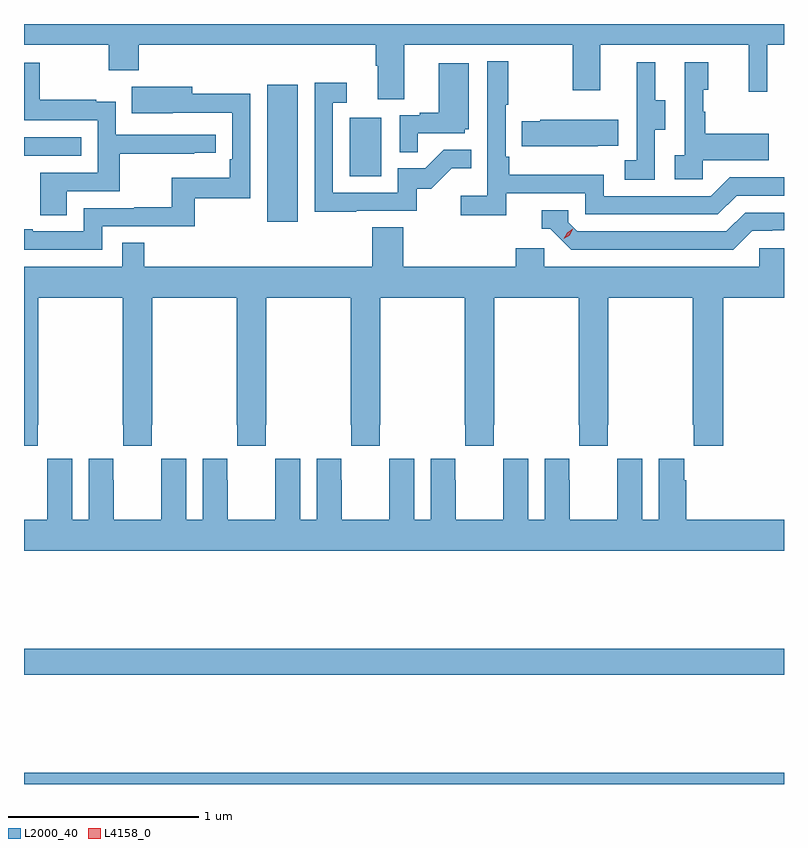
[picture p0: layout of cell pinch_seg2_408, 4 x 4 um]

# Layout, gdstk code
import gdstk
lib = gdstk.Library(unit=1e-6, precision=1e-09)
def R(c, l, rs):  # rectangles x0, y0, x1, y1
    for r in rs: c.add(gdstk.rectangle(r[:2], r[2:], *l))
def P(c, l, *ps):  # polygons
    for p in ps: c.add(gdstk.Polygon(p, *l))
L2000_40 = (2000, 40)
L4158_0 = (4158, 0)

pinch_seg2_408 = lib.new_cell('pinch_seg2_408')
R(pinch_seg2_408, L2000_40, [(995.439,613.109,999.439,613.168), (995.439,613.684,999.439,613.82), (996.719,616.068,996.88,616.789), (997.154,616.308,997.318,616.615), (995.439,616.416,995.741,616.512)])
P(pinch_seg2_408, L2000_40, [(997.441,617),(998.326,617),(998.326,616.761),(998.473,616.761),(998.473,617),(999.254,617),(999.254,616.752),(999.351,616.752),(999.351,617),(999.439,617),(999.439,617.109),(995.439,617.109),(995.439,617),(995.884,617),(995.884,616.865),(996.044,616.865),(996.044,617),(997.289,617),(997.289,616.888),(997.301,616.888),(997.301,616.714),(997.441,616.714)],
  [(997.976,616.218),(998.394,616.218),(998.394,616.107),(999.091,616.107),(999.19,616.206),(999.439,616.206),(999.439,616.302),(999.153,616.302),(999.054,616.203),(998.49,616.203),(998.49,616.315),(997.994,616.315),(997.994,616.411),(997.974,616.411),(997.974,616.684),(997.987,616.684),(997.987,616.912),(997.878,616.912),(997.878,616.204),(997.737,616.204),(997.737,616.102),(997.976,616.102)],
  [(999.012,616.391),(999.359,616.391),(999.359,616.531),(999.025,616.531),(999.025,616.646),(999.015,616.646),(999.015,616.764),(999.04,616.764),(999.04,616.909),(998.916,616.909),(998.916,616.418),(998.865,616.418),(998.865,616.293),(999.012,616.293)],
  [(998.76,616.552),(998.815,616.552),(998.815,616.707),(998.761,616.707),(998.761,616.909),(998.663,616.909),(998.663,616.695),(998.664,616.695),(998.664,616.391),(998.601,616.391),(998.601,616.288),(998.76,616.288)],
  [(995.665,616.23),(995.942,616.23),(995.942,616.426),(996.335,616.426),(996.335,616.431),(996.448,616.431),(996.448,616.527),(995.922,616.527),(995.922,616.699),(995.819,616.699),(995.819,616.711),(995.521,616.711),(995.521,616.905),(995.439,616.905),(995.439,616.602),(995.826,616.602),(995.826,616.326),(995.525,616.326),(995.525,616.102),(995.665,616.102)],
  [(997.511,616.533),(997.758,616.533),(997.758,616.554),(997.78,616.554),(997.78,616.903),(997.622,616.903),(997.622,616.642),(997.523,616.642),(997.523,616.629),(997.416,616.629),(997.416,616.435),(997.511,616.435)],
  [(997.187,616.125),(997.506,616.125),(997.506,616.242),(997.582,616.242),(997.689,616.349),(997.793,616.349),(997.793,616.448),(997.649,616.448),(997.551,616.35),(997.407,616.35),(997.407,616.221),(997.065,616.221),(997.065,616.695),(997.138,616.695),(997.138,616.801),(996.969,616.801),(996.969,616.12),(997.187,616.12)],
  [(995.85,616.044),(996.337,616.044),(996.337,616.191),(996.63,616.191),(996.63,616.742),(996.325,616.742),(996.325,616.78),(996.007,616.78),(996.007,616.64),(996.221,616.64),(996.221,616.641),(996.534,616.641),(996.534,616.396),(996.521,616.396),(996.521,616.3),(996.216,616.3),(996.216,616.145),(996.019,616.145),(996.019,616.14),(995.754,616.14),(995.754,616.017),(995.485,616.017),(995.485,616.03),(995.439,616.03),(995.439,615.921),(995.85,615.921)],
  [(998.459,616.469),(998.567,616.469),(998.567,616.606),(998.157,616.606),(998.157,616.596),(998.059,616.596),(998.059,616.466),(998.459,616.466)],
  [(999.271,616.02),(999.378,616.02),(999.378,616.023),(999.439,616.023),(999.439,616.116),(999.234,616.116),(999.135,616.017),(998.352,616.017),(998.304,616.065),(998.304,616.128),(998.165,616.128),(998.165,616.032),(998.208,616.032),(998.319,615.921),(999.172,615.921)],
  [(998.359,615.001),(998.361,615.001),(998.361,614.889),(998.511,614.889),(998.511,615.001),(998.514,615.001),(998.514,615.668),(998.959,615.668),(998.959,615.001),(998.965,615.001),(998.965,614.889),(999.119,614.889),(999.119,615.668),(999.439,615.668),(999.439,615.93),(999.309,615.93),(999.309,615.832),(998.178,615.832),(998.178,615.93),(998.027,615.93),(998.027,615.832),(997.436,615.832),(997.436,616.04),(997.271,616.04),(997.271,615.832),(996.071,615.832),(996.071,615.959),(995.955,615.959),(995.955,615.832),(995.439,615.832),(995.439,614.889),(995.511,614.889),(995.511,615.001),(995.514,615.001),(995.514,615.668),(995.959,615.668),(995.959,615.001),(995.961,615.001),(995.961,614.889),(996.111,614.889),(996.111,615.001),(996.114,615.001),(996.114,615.668),(996.559,615.668),(996.559,615.001),(996.561,615.001),(996.561,614.889),(996.711,614.889),(996.711,615.001),(996.714,615.001),(996.714,615.668),(997.159,615.668),(997.159,615.001),(997.161,615.001),(997.161,614.889),(997.311,614.889),(997.311,615.001),(997.314,615.001),(997.314,615.668),(997.759,615.668),(997.759,615.001),(997.761,615.001),(997.761,614.889),(997.911,614.889),(997.911,615.001),(997.914,615.001),(997.914,615.668),(998.359,615.668)],
  [(998.18,614.821),(998.18,614.5),(998.092,614.5),(998.092,614.821),(997.962,614.821),(997.962,614.708),(997.961,614.708),(997.961,614.5),(997.711,614.5),(997.711,614.708),(997.71,614.708),(997.71,614.821),(997.58,614.821),(997.58,614.5),(997.492,614.5),(997.492,614.821),(997.362,614.821),(997.362,614.708),(997.361,614.708),(997.361,614.5),(997.111,614.5),(997.111,614.708),(997.11,614.708),(997.11,614.821),(996.98,614.821),(996.98,614.5),(996.892,614.5),(996.892,614.821),(996.762,614.821),(996.762,614.708),(996.761,614.708),(996.761,614.5),(996.511,614.5),(996.511,614.708),(996.51,614.708),(996.51,614.821),(996.38,614.821),(996.38,614.5),(996.292,614.5),(996.292,614.821),(996.162,614.821),(996.162,614.708),(996.161,614.708),(996.161,614.5),(995.911,614.5),(995.911,614.708),(995.91,614.708),(995.91,614.821),(995.78,614.821),(995.78,614.5),(995.692,614.5),(995.692,614.821),(995.562,614.821),(995.562,614.708),(995.561,614.708),(995.561,614.5),(995.439,614.5),(995.439,614.336),(999.439,614.336),(999.439,614.5),(998.924,614.5),(998.924,614.708),(998.914,614.708),(998.914,614.821),(998.78,614.821),(998.78,614.5),(998.692,614.5),(998.692,614.821),(998.562,614.821),(998.562,614.708),(998.561,614.708),(998.561,614.5),(998.311,614.5),(998.311,614.708),(998.31,614.708),(998.31,614.821)])
P(pinch_seg2_408, L4158_0, [(998.281,615.979),(998.281,615.979),(998.297,616.011),(998.328,616.031),(998.328,616.031),(998.328,616.03),(998.312,615.998),(998.281,615.979)])

lib.write_gds('pinch_seg2_408.gds')
